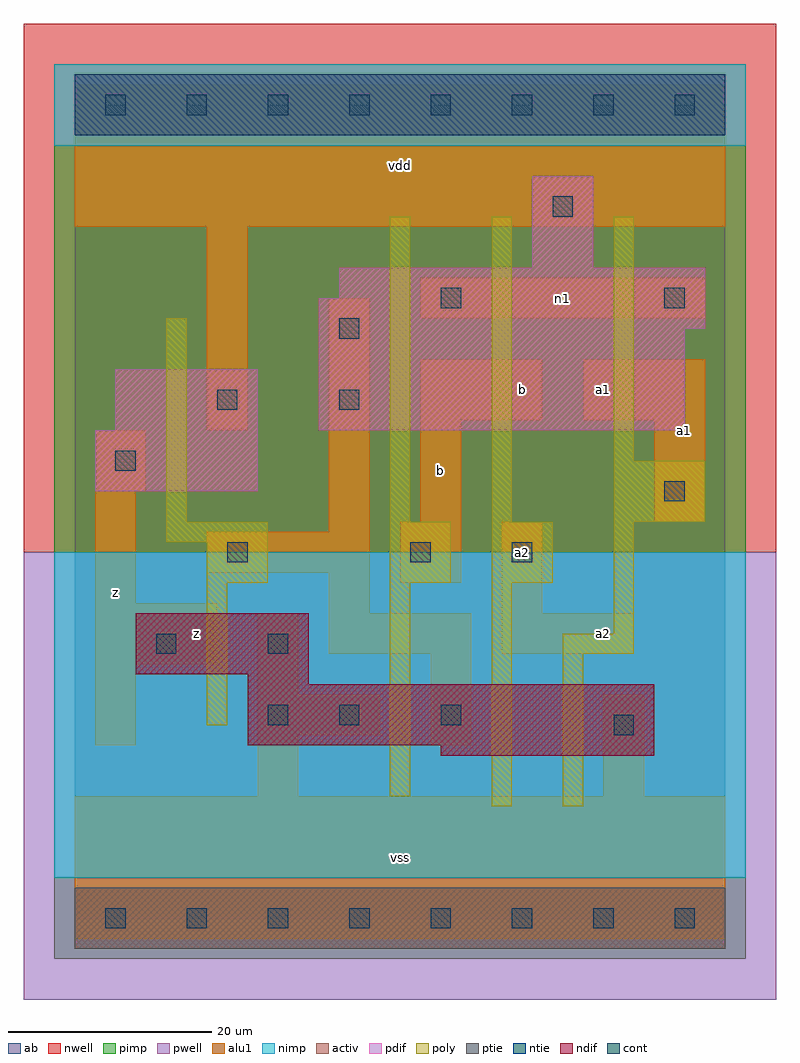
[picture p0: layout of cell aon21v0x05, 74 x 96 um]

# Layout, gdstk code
import gdstk
lib = gdstk.Library(unit=1e-6, precision=1e-09)
def R(c, l, rs):  # rectangles x0, y0, x1, y1
    for r in rs: c.add(gdstk.rectangle(r[:2], r[2:], *l))
def A(c, l, x, y, w, h, nx, ny, dx, dy):  # array of equal rectangles
    R(c, l, [(x+i*dx, y+j*dy, x+i*dx+w, y+j*dy+h) for i in range(nx) for j in range(ny)])
ndif = (3, 0)
pdif = (4, 0)
ntie = (5, 0)
ptie = (6, 0)
cont = (25, 0)
pwell = (41, 0)
nwell = (42, 0)
activ = (43, 0)
pimp = (44, 0)
nimp = (45, 0)
poly = (46, 0)
alu1 = (49, 0)
ab = (63, 0)

aon21v0x05 = lib.new_cell('aon21v0x05')
R(aon21v0x05, ndif, [(36,16,57,17), (17,17,57,23), (17,23,23,24), (6,24,23,30)])
R(aon21v0x05, pdif, [(2,42,18,48), (4,48,18,54), (24,48,60,58), (24,58,62,61), (26,61,62,64), (45,64,51,73)])
R(aon21v0x05, ntie, [(0,77,64,83)])
R(aon21v0x05, ptie, [(0,-3,64,3)])
A(aon21v0x05, cont, 3, -1, 2, 2, 8, 2, 8, 80)
R(aon21v0x05, cont, [(53,18,55,20), (19,19,21,21), (26,19,28,21), (36,19,38,21), (8,26,10,28), (19,26,21,28), (15,35,17,37), (33,35,35,37), (43,35,45,37), (58,41,60,43), (4,44,6,46), (14,50,16,52), (26,50,28,52), (26,57,28,59), (36,60,38,62), (58,60,60,62), (47,69,49,71)])
R(aon21v0x05, pwell, [(-5,-8,69,36)])
R(aon21v0x05, nwell, [(-5,36,69,88)])
R(aon21v0x05, activ, [(0,-3,64,3), (36,16,57,17), (17,17,57,23), (17,23,23,24), (6,24,23,30), (2,42,18,48), (4,48,18,54), (24,48,60,58), (24,58,62,61), (26,61,62,64), (45,64,51,73), (0,77,64,83)])
R(aon21v0x05, pimp, [(-2,-4,66,4), (-2,36,66,76)])
R(aon21v0x05, nimp, [(-2,4,66,36), (-2,76,66,84)])
R(aon21v0x05, poly, [(41,11,43,33), (48,11,50,26), (31,12,33,33), (13,19,15,33), (48,26,55,28), (53,28,55,39), (13,33,19,37), (31,33,37,39), (41,33,47,39), (9,37,19,39), (9,39,11,59), (31,39,33,69), (41,39,43,69), (53,39,62,45), (53,45,55,69)])
R(aon21v0x05, alu1, [(0,-2,64,12), (18,12,22,18), (52,12,56,22), (2,17,6,25), (35,17,39,26), (18,18,30,22), (18,22,22,30), (2,25,14,31), (25,26,39,30), (42,26,55,30), (25,30,29,34), (42,30,46,39), (2,31,6,42), (32,33,38,39), (13,34,29,38), (25,38,29,61), (34,39,38,49), (57,39,62,49), (2,42,7,48), (13,48,17,68), (34,49,46,55), (50,49,62,55), (34,59,62,63), (0,68,64,82)])
R(aon21v0x05, ab, [(0,0,64,80)])
aon21v0x05.add(gdstk.Label('n1', (48,61), layer=49, texttype=0))
aon21v0x05.add(gdstk.Label('z', (4,32), layer=49, texttype=0))
aon21v0x05.add(gdstk.Label('z', (12,28), layer=49, texttype=0))
aon21v0x05.add(gdstk.Label('vss', (32,6), layer=49, texttype=0))
aon21v0x05.add(gdstk.Label('a2', (44,36), layer=49, texttype=0))
aon21v0x05.add(gdstk.Label('b', (36,44), layer=49, texttype=0))
aon21v0x05.add(gdstk.Label('b', (44,52), layer=49, texttype=0))
aon21v0x05.add(gdstk.Label('vdd', (32,74), layer=49, texttype=0))
aon21v0x05.add(gdstk.Label('a2', (52,28), layer=49, texttype=0))
aon21v0x05.add(gdstk.Label('a1', (52,52), layer=49, texttype=0))
aon21v0x05.add(gdstk.Label('a1', (60,48), layer=49, texttype=0))

lib.write_gds('aon21v0x05.gds')
